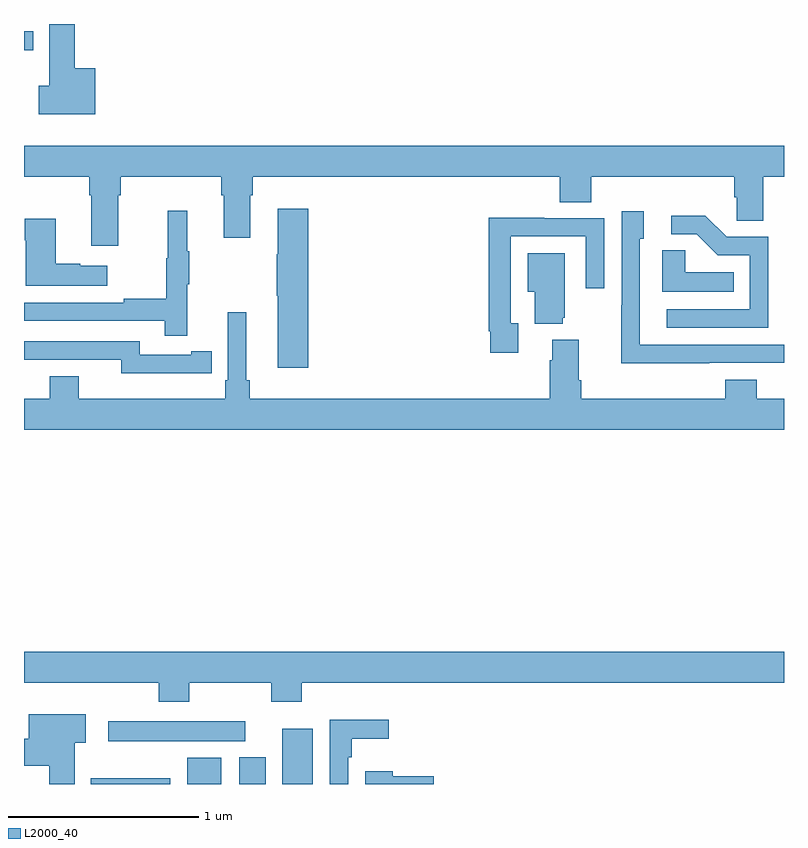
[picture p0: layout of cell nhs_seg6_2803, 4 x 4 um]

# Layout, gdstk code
import gdstk
lib = gdstk.Library(unit=1e-6, precision=1e-09)
def R(c, l, rs):  # rectangles x0, y0, x1, y1
    for r in rs: c.add(gdstk.rectangle(r[:2], r[2:], *l))
def P(c, l, *ps):  # polygons
    for p in ps: c.add(gdstk.Polygon(p, *l))
L2000_40 = (2000, 40)

nhs_seg6_2803 = lib.new_cell('nhs_seg6_2803')
R(nhs_seg6_2803, L2000_40, [(277.352,917.5,277.771,917.531), (277.859,917.5,278.038,917.638), (278.132,917.5,278.272,917.641), (278.36,917.5,278.521,917.791), (277.443,917.726,278.164,917.83), (277,921.362,277.048,921.462)])
P(nhs_seg6_2803, L2000_40, [(277.375,921.268),(277.268,921.268),(277.268,921.5),(277.133,921.5),(277.133,921.176),(277.077,921.176),(277.077,921.026),(277.375,921.026)],
  [(277.495,920.6),(277.508,920.6),(277.508,920.696),(278.039,920.696),(278.039,920.6),(278.051,920.6),(278.051,920.376),(278.191,920.376),(278.191,920.6),(278.204,920.6),(278.204,920.696),(279.821,920.696),(279.821,920.563),(279.986,920.563),(279.986,920.696),(280.739,920.696),(280.739,920.587),(280.752,920.587),(280.752,920.464),(280.891,920.464),(280.891,920.696),(281,920.696),(281,920.86),(277,920.86),(277,920.696),(277.343,920.696),(277.343,920.6),(277.355,920.6),(277.355,920.334),(277.495,920.334)],
  [(278.495,920.527),(278.336,920.527),(278.336,920.288),(278.329,920.288),(278.329,920.071),(278.336,920.071),(278.336,919.692),(278.495,919.692)],
  [(277.859,920.131),(277.87,920.131),(277.87,920.305),(277.859,920.305),(277.859,920.518),(277.756,920.518),(277.756,920.268),(277.749,920.268),(277.749,920.054),(277.525,920.054),(277.525,920.034),(277,920.034),(277,919.938),(277.741,919.938),(277.741,919.86),(277.859,919.86)],
  [(280.607,919.716),(281,919.716),(281,919.812),(280.242,919.812),(280.242,920.37),(280.261,920.37),(280.261,920.515),(280.146,920.515),(280.146,920.021),(280.144,920.021),(280.144,919.715),(280.607,919.715)],
  [(280.917,920.379),(280.698,920.379),(280.585,920.492),(280.407,920.492),(280.407,920.394),(280.541,920.394),(280.652,920.283),(280.821,920.283),(280.821,919.998),(280.383,919.998),(280.383,919.902),(280.917,919.902)],
  [(279.601,919.926),(279.561,919.926),(279.561,920.382),(279.957,920.382),(279.957,920.109),(280.053,920.109),(280.053,920.478),(279.737,920.478),(279.737,920.48),(279.445,920.48),(279.445,919.882),(279.453,919.882),(279.453,919.77),(279.601,919.77)],
  [(277.438,920.227),(277.295,920.227),(277.295,920.237),(277.168,920.237),(277.168,920.476),(277.003,920.476),(277.003,920.363),(277.01,920.363),(277.01,920.123),(277.438,920.123)],
  [(280.736,920.194),(280.479,920.194),(280.479,920.309),(280.358,920.309),(280.358,920.09),(280.736,920.09)],
  [(279.836,919.953),(279.847,919.953),(279.847,920.293),(279.65,920.293),(279.65,920.09),(279.689,920.09),(279.689,919.922),(279.836,919.922)],
  [(281,919.528),(280.856,919.528),(280.856,919.627),(280.691,919.627),(280.691,919.528),(279.932,919.528),(279.932,919.624),(279.919,919.624),(279.919,919.837),(279.779,919.837),(279.779,919.73),(279.767,919.73),(279.767,919.528),(278.189,919.528),(278.189,919.624),(278.17,919.624),(278.17,919.984),(278.073,919.984),(278.073,919.624),(278.06,919.624),(278.06,919.528),(277.288,919.528),(277.288,919.645),(277.136,919.645),(277.136,919.528),(277,919.528),(277,919.364),(281,919.364)],
  [(277.88,919.662),(277.988,919.662),(277.988,919.778),(277.88,919.778),(277.88,919.758),(277.608,919.758),(277.608,919.83),(277,919.83),(277,919.733),(277.052,919.733),(277.052,919.734),(277.512,919.734),(277.512,919.661),(277.88,919.661)],
  [(277.869,918.032),(278.302,918.032),(278.302,917.933),(278.462,917.933),(278.462,918.032),(281,918.032),(281,918.196),(277,918.196),(277,918.032),(277.709,918.032),(277.709,917.933),(277.869,917.933)],
  [(277.267,917.717),(277.324,917.717),(277.324,917.866),(277.025,917.866),(277.025,917.739),(277,917.739),(277,917.597),(277.133,917.597),(277.133,917.5),(277.267,917.5)],
  [(278.706,917.642),(278.726,917.642),(278.726,917.738),(278.92,917.738),(278.92,917.837),(278.61,917.837),(278.61,917.5),(278.706,917.5)],
  [(279.157,917.54),(278.942,917.54),(278.942,917.566),(278.795,917.566),(278.795,917.5),(279.157,917.5)])

lib.write_gds('nhs_seg6_2803.gds')
